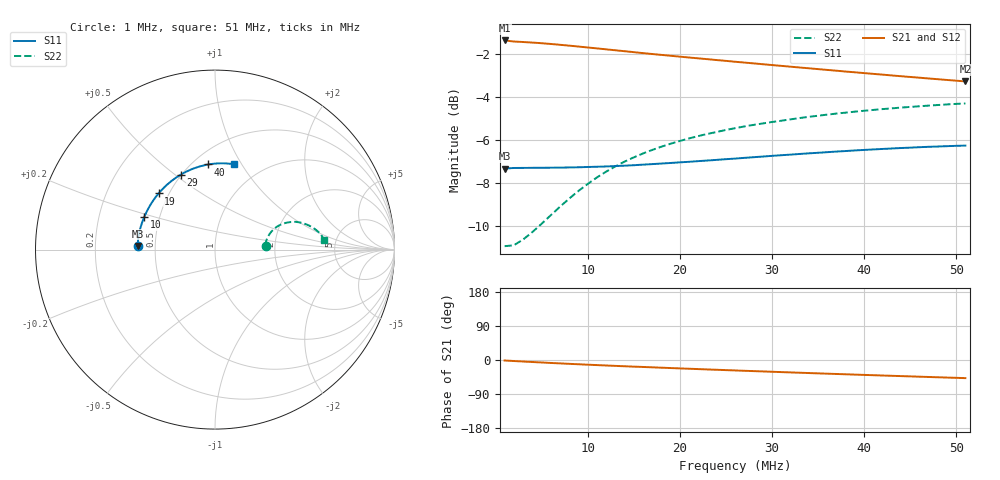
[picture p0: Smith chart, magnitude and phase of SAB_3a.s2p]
# MHz S RI R 50
! S-Parameters data
! Freq  reS11  imS11  reS21  imS21  reS12  imS12  reS22  imS22
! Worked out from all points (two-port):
!   51 points, 1 MHz to 51 MHz, reference 50 ohm
!   highest |S21| = -1.36 dB at 1 MHz (marker M1); lowest = -3.3 dB at 51 MHz (marker M2)
!   |S21| within 3 dB of the highest: start of sweep to end of sweep
!   lowest |S11| = -7.3 dB at 1 MHz (marker M3), VSWR 2.51, Z = 19.9 + j1.01 ohm
!   |S11| at or under -10 dB: nowhere
!   |S22| runs from -10.9 to -4.3 dB; largest |S21 - S12| = 0.0025
!   S11 on the Smith chart (normalised r, x): 1 MHz: 0.40, +0.02; 10 MHz: 0.41, +0.18; 19 MHz: 0.44, +0.34; 29 MHz: 0.50, +0.52; 40 MHz: 0.59, +0.73; 51 MHz: 0.75, +0.93
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1  -0.43 0.0206  0.8547 -0.0186  0.8541 -0.0182  0.2833 0.0219
2  -0.4302 0.0382  0.8492 -0.0399  0.8486 -0.039  0.2827 0.0396
3  -0.4283 0.0566  0.8459 -0.0589  0.8453 -0.0579  0.2885 0.0582
5  -0.4221 0.0933  0.837 -0.0958  0.8368 -0.0945  0.3069 0.091
6  -0.418 0.1113  0.8314 -0.1133  0.8312 -0.1118  0.3183 0.1048
8  -0.4076 0.1464  0.8186 -0.1461  0.8185 -0.1443  0.3438 0.1266
10  -0.3951 0.1799  0.8043 -0.1762  0.8044 -0.1738  0.3702 0.1411
12  -0.3801 0.2123  0.7894 -0.2036  0.7898 -0.2016  0.3961 0.1492
14  -0.3635 0.243  0.7739 -0.2294  0.7745 -0.2272  0.4196 0.1531
16  -0.345 0.2724  0.7583 -0.2516  0.7592 -0.2513  0.4402 0.1549
18  -0.3249 0.3001  0.7424 -0.2741  0.7435 -0.2737  0.4589 0.1534
19  -0.3141 0.3131  0.7343 -0.285  0.7355 -0.2847  0.4675 0.1522
23  -0.2679 0.3609  0.7016 -0.3254  0.7028 -0.3253  0.4976 0.1445
26  -0.2301 0.3915  0.6763 -0.3528  0.678 -0.3526  0.5164 0.1374
29  -0.1906 0.4177  0.6509 -0.3782  0.6528 -0.3782  0.5327 0.1293
32  -0.1495 0.4391  0.6251 -0.4017  0.6269 -0.4017  0.547 0.1208
35  -0.1078 0.4559  0.5989 -0.4232  0.6011 -0.4236  0.5603 0.1116
37  -0.0799 0.4648  0.5815 -0.4365  0.5836 -0.437  0.5684 0.1051
40  -0.0381 0.4741  0.5554 -0.4549  0.5576 -0.4556  0.5789 0.0952
43  0.00287 0.4793  0.5293 -0.4716  0.5314 -0.4725  0.5882 0.0847
47  0.0561 0.4804  0.4949 -0.4914  0.4969 -0.4926  0.599 0.0701
51  0.1068 0.475  0.461 -0.5088  0.463 -0.5103  0.6078 0.0551
